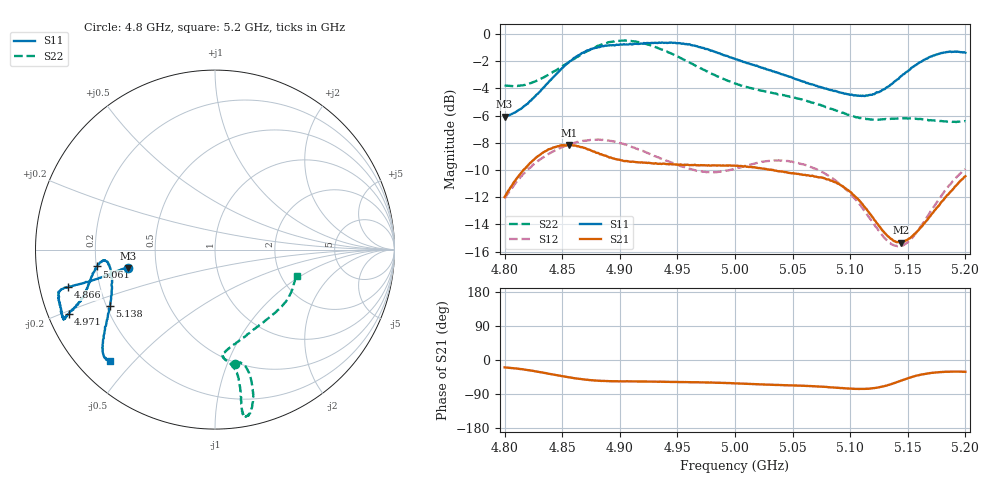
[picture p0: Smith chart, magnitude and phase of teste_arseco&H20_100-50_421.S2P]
! Network Analyzer HP8722D
! Hewlett-Packard
! Data name: Linha & Wilkinson
! Saver's name: Rodrigo Anjos
! Comments: Teste da utilização de aquisição
! continua pelo VNA HP8722D
! Time and date: 6/5/2025 16:04
!  Frequency  S11  S21  S12  S22
# HZ  S  MA R 50
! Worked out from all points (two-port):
!   401 points, 4.8 GHz to 5.2 GHz, reference 50 ohm
!   highest |S21| = -8.16 dB at 4.856 GHz (marker M1); lowest = -15.3 dB at 5.144 GHz (marker M2)
!   |S21| within 3 dB of the highest: 4.806 GHz to 5.093 GHz (286.4 MHz wide, 5.79 % of centre); 5.191833 GHz to end of sweep
!   lowest |S11| = -6.1 dB at 4.8 GHz (marker M3), VSWR 2.97, Z = 17 - j4.63 ohm
!   |S11| at or under -10 dB: nowhere
!   |S22| runs from -6.5 to -0.5 dB; largest |S21 - S12| = 0.62
!   S11 on the Smith chart (normalised r, x): 4.8 GHz: 0.34, -0.09; 4.866 GHz: 0.09, -0.12; 4.971 GHz: 0.06, -0.21; 5.061 GHz: 0.20, -0.07; 5.138 GHz: 0.21, -0.24; 5.2 GHz: 0.09, -0.43
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4.8e9  0.4963 -168.1  0.2515 -19.5  0.2482 -140.7  0.6477 -80.3
4.828e9  0.5995 -166.9  0.3531 -30.5  0.338 -144.7  0.6736 -75.4
4.856e9  0.7895 -165.7  0.3908 -45.6  0.3922 -150.1  0.7885 -74.7
4.866e9  0.8424 -165.8  0.3835 -50.2  0.4028 -151.7  0.8369 -75.3
4.867e9  0.8503 -165.5  0.3835 -50.6  0.4035 -151.9  0.8424 -75.4
4.898e9  0.9123 -162.7  0.3452 -56.1  0.3984 -156.3  0.9432 -78.8
4.914e9  0.9196 -159.4  0.3379 -56.4  0.3787 -157.0  0.938 -80.3
4.934e9  0.9292 -156.2  0.333 -57.3  0.3511 -155.6  0.8844 -80.4
4.971e9  0.8903 -156.3  0.3291 -59.1  0.3122 -146.4  0.7458 -79.6
5e9  0.8096 -158.8  0.3277 -61.8  0.3198 -137.1  0.6572 -81.3
5.036e9  0.7232 -165.3  0.3139 -65.8  0.3424 -134.2  0.6031 -85.6
5.061e9  0.6645 -171.9  0.3033 -68.2  0.3299 -136.2  0.5697 -84.0
5.067e9  0.6525 -172.9  0.3011 -69.1  0.323 -136.7  0.5592 -82.7
5.086e9  0.6171 -174.4  0.2858 -72.8  0.2919 -138.3  0.5259 -75.3
5.103e9  0.5942 -171.5  0.2554 -76.0  0.2506 -138.6  0.498 -65.2
5.118e9  0.5973 -164.4  0.2162 -75.2  0.2074 -134.6  0.4847 -54.3
5.134e9  0.6439 -154.2  0.1786 -65.4  0.1706 -120.7  0.4867 -43.3
5.138e9  0.6658 -151.7  0.1732 -61.3  0.167 -115.6  0.4873 -40.9
5.144e9  0.6978 -148.7  0.1709 -54.7  0.1661 -107.5  0.4887 -37.4
5.155e9  0.7581 -144.0  0.1823 -43.6  0.1803 -94.0  0.4884 -31.9
5.173e9  0.8336 -138.7  0.2238 -33.2  0.2329 -80.8  0.4812 -24.4
5.2e9  0.8528 -133.4  0.2999 -31.2  0.3188 -76.8  0.4775 -17.6
